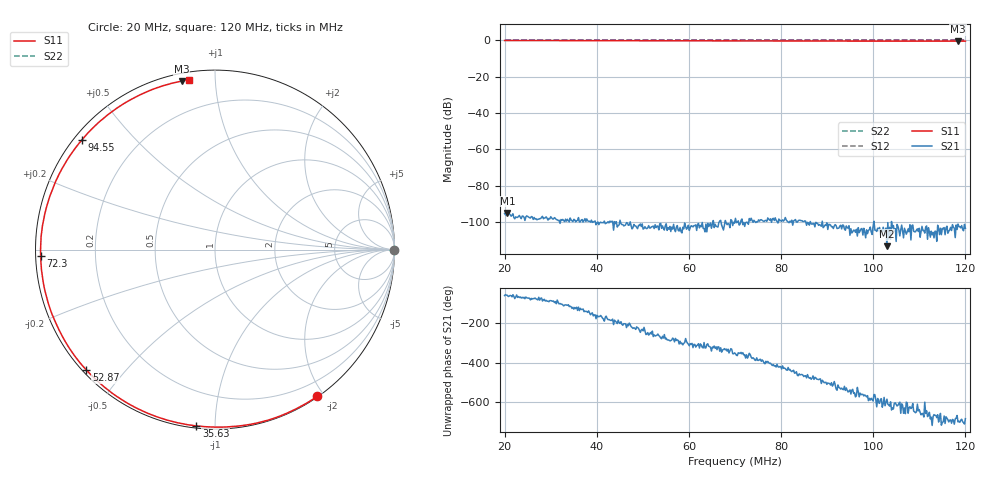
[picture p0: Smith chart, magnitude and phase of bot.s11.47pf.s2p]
! Anritsu VNA Master:  Model: MS2036C/10/77
! SN:  1601066
! /card0/usr/bot.s11.47pf.s2p
! Existing Calibration Information:
! TYPE:  Current Settings,  Active Cal Settings
! TIME:  05/23/2018 11:53:43 AM,  05/23/2018 11:36:58 AM
! INTERNAL TEMP:  48.5 C,  48.8 C
! # POINTS:  500,  500
! START FREQ:  20.000 MHz,  20.000 MHz
! STOP FREQ:  120.000 MHz,  120.000 MHz
! SOURCE POWER:  High,  High
! IFBW:  50 Hz,  50 Hz
! AVG FACTOR:  1 ,  1
! REF PLANE 1:  0 mm,  0 mm
! REF PLANE 2:  0 mm,  0 mm
! CAL TYPE:  Full S11,  Full S11
! CAL METHOD:  SOLT,  SOLT
! CAL LINE TYPE:  Coax,  Coax
! DUT PORT 1:  K-Conn(M),  K-Conn(M)
! DUT PORT 2:  K-Conn(M),  K-Conn(M)
! CAL STATUS:  OK: Accuracy High,  --
# GHZ S DB R 50.0
! FREQ.GHZ  S11DB  S11A  S21DB  S21A  S12DB  S12A  S22DB  S22A
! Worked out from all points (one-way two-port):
!   500 points, 20 MHz to 120 MHz, reference 50 ohm
!   highest |S21| = -95.05 dB at 20.6 MHz (marker M1); lowest = -113.3 dB at 103 MHz (marker M2)
!   lowest |S11| = -0.4 dB at 118.4 MHz (marker M3), VSWR 45.16, Z = 1.85 + j41.1 ohm
!   |S11| at or under -10 dB: nowhere
!   |S22| runs from 0.0 to 0.0 dB; largest |S21 - S12| = 1
!   S11 on the Smith chart (normalised r, x): 20 MHz: 0.01, -1.91; 35.63 MHz: 0.01, -0.90; 52.87 MHz: 0.01, -0.39; 72.3 MHz: 0.01, -0.02; 94.55 MHz: 0.02, +0.36; 120 MHz: 0.04, +0.86
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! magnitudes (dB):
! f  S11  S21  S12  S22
! 20 MHz  0.0  -95.3  0.0  0.0
! 20.6 MHz  0.0  -95.0  0.0  0.0
! 26.61 MHz  0.0  -98.4  0.0  0.0
! 32.42 MHz  -0.1  -99.1  0.0  0.0
! 35.63 MHz  -0.1  -99.4  0.0  0.0
! 36.83 MHz  -0.1  -98.7  0.0  0.0
! 44.05 MHz  -0.1  -100.9  0.0  0.0
! 52.87 MHz  -0.2  -103.1  0.0  0.0
! 53.47 MHz  -0.2  -104.4  0.0  0.0
! 56.67 MHz  -0.2  -101.3  0.0  0.0
! 60.88 MHz  -0.2  -102.7  0.0  0.0
! 62.89 MHz  -0.2  -100.3  0.0  0.0
! 70.1 MHz  -0.2  -98.0  0.0  0.0
! 72.3 MHz  -0.2  -100.4  0.0  0.0
! 76.31 MHz  -0.3  -99.7  0.0  0.0
! 83.33 MHz  -0.3  -100.0  0.0  0.0
! 86.73 MHz  -0.3  -101.2  0.0  0.0
! 94.55 MHz  -0.3  -103.3  0.0  0.0
! 103 MHz  -0.4  -113.3  0.0  0.0
! 103.4 MHz  -0.4  -109.4  0.0  0.0
! 118.4 MHz  -0.4  -101.1  0.0  0.0
! 120 MHz  -0.4  -103.5  0.0  0.0
